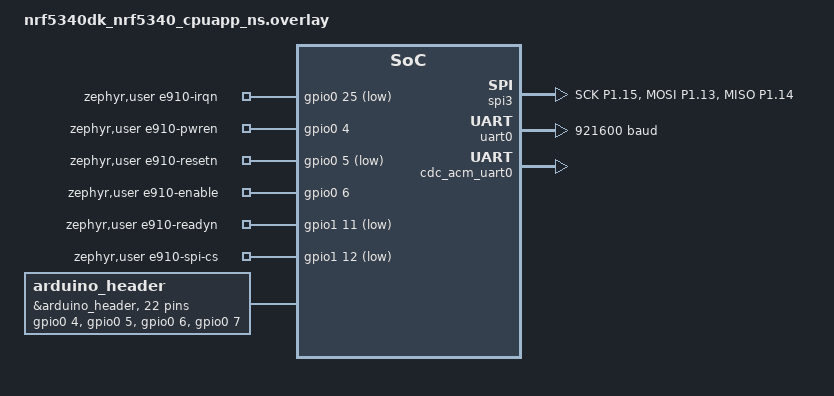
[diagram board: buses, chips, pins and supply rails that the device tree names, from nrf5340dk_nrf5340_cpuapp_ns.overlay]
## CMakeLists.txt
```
#
# Copyright (c) 2022 Nordic Semiconductor ASA
#
# SPDX-License-Identifier: LicenseRef-Nordic-5-Clause
#

cmake_minimum_required(VERSION 3.20.0)
set(VERSION 1.2.24)

# Use C 2011
set (CMAKE_C_STANDARD 11)

# No warnings
add_definitions(-w)

# Set OS type for Zephyr
add_definitions(-DEX10_OSAL_TYPE=EX10_OS_TYPE_BARE_METAL)
set(CMAKE_BUILD_TYPE "Debug")

find_package(Zephyr REQUIRED HINTS $ENV{ZEPHYR_BASE})
project(rain_cloud
    VERSION ${VERSION}
    DESCRIPTION "Impinj Zephyr RTOS Reader for nRF5340 Dev Kit"
    LANGUAGES C
)

set(BOARD_PATH ${PROJECT_SOURCE_DIR}/src/board/zephyr_rtos)
set(EX10 ${PROJECT_SOURCE_DIR}/src/src/ex10)
set(EX10_GEN2X ${PROJECT_SOURCE_DIR}/src/src_gen2x/ex10)

target_sources(
    app
    PRIVATE

    src/main.c

    src/rain/spitest.c
    src/rain/getboardversion.c
    src/rain/simple_ramping_example.c
    #src/rain/continuous_inventory.c
    src/rain/gen2x_continuous_inventory.c

    ${BOARD_PATH}/board_spec.c
    ${BOARD_PATH}/calibration.c
    ${BOARD_PATH}/calibration_v5.c
    ${BOARD_PATH}/driver_list.c
    ${BOARD_PATH}/ex10_gpio.c
    ${BOARD_PATH}/ex10_print.c
    ${BOARD_PATH}/ex10_random.c
    ${BOARD_PATH}/ex10_random.c
    ${BOARD_PATH}/ex10_rx_baseband_filter.c
    ${BOARD_PATH}/ex10_osal.c
    ${BOARD_PATH}/fifo_buffer_pool.c
    ${BOARD_PATH}/gpio_driver.c
    ${BOARD_PATH}/rssi_compensation_lut.c
    ${BOARD_PATH}/spi_driver.c
    ${BOARD_PATH}/time_helpers.c
    ${BOARD_PATH}/uart_driver.c
    ${BOARD_PATH}/uart_helpers.c

    ${BOARD_PATH}/calibration_lut_gen2x.c
    ${BOARD_PATH}/ex10_rx_baseband_filter_gen2x.c
    ${BOARD_PATH}/rssi_compensation_lut_gen2x.c

    ${EX10}_api/aggregate_op_builder.c 
    ${EX10}_api/application_registers.c 
    ${EX10}_api/board_init_core.c 
    ${EX10}_api/board_init.c 
    ${EX10}_api/command_transactor.c 
    ${EX10}_api/commands.c 
    ${EX10}_api/crc16.c 
    ${EX10}_api/event_fifo_printer.c 
    ${EX10}_api/event_packet_parser.c 
    ${EX10}_api/ex10_active_region.c 
    ${EX10}_api/ex10_api_strings.c 
    ${EX10}_api/ex10_autoset_modes.c 
    ${EX10}_api/ex10_boot_health.c 
    ${EX10}_api/ex10_device_time.c 
    ${EX10}_api/ex10_dynamic_power_ramp.c 
    ${EX10}_api/ex10_event_fifo_queue.c 
    ${EX10}_api/ex10_gen2_reply_string.c 
    ${EX10}_api/ex10_helpers.c 
    ${EX10}_api/ex10_inventory.c 

    ${EX10}_api/ex10_ops.c 
    ${EX10}_api/ex10_power_modes.c 
    ${EX10}_api/ex10_protocol.c 

    ${EX10}_api/ex10_regulatory.c 
    ${EX10}_api/ex10_result_strings.c 
    ${EX10}_api/ex10_result.c 
    ${EX10}_api/ex10_rf_power.c 
    ${EX10}_api/ex10_select_commands.c 
    ${EX10}_api/ex10_simple_example_init.c   
    ${EX10}_api/ex10_test.c 
    ${EX10}_api/ex10_utils.c 
    ${EX10}_api/fifo_buffer_list.c 
    ${EX10}_api/gen2_commands.c 
    ${EX10}_api/gen2_tx_command_manager.c 
    ${EX10}_api/legacy_rf_mode_converter.c    
    ${EX10}_api/list_node.c 
    ${EX10}_api/power_transactor.c 
    ${EX10}_api/print_data.c 
    ${EX10}_api/rf_mode_definitions.c 
    ${EX10}_api/sjc_accessor.c 
    ${EX10}_api/trace.c 
    ${EX10}_api/version_info.c

    ${EX10}_modules/ex10_ramp_module_manager.c
    ${EX10}_modules/ex10_antenna_disconnect.c
    ${EX10}_modules/ex10_listen_before_talk.c
    
    ${EX10}_use_cases/ex10_activity_sequence_use_case.c
    ${EX10}_use_cases/ex10_continuous_inventory_power_sweep_use_case.c
    ${EX10}_use_cases/ex10_continuous_inventory_start_use_case.c
    ${EX10}_use_cases/ex10_continuous_inventory_use_case.c
    ${EX10}_use_cases/ex10_inventory_sequence_use_case.c
    ${EX10}_use_cases/ex10_tag_access_use_case.c    

    ${EX10}_regulatory/ex10_default_region_names.c
    ${EX10}_regulatory/ex10_off_time_helpers.c
    ${EX10}_regulatory/ex10_regulatory_regions/ex10_regulatory_australia.c
    ${EX10}_regulatory/ex10_regulatory_regions/ex10_regulatory_brazil.c
    ${EX10}_regulatory/ex10_regulatory_regions/ex10_regulatory_china.c
    ${EX10}_regulatory/ex10_regulatory_regions/ex10_regulatory_error.c
    ${EX10}_regulatory/ex10_regulatory_regions/ex10_regulatory_etsi_lower.c
    ${EX10}_regulatory/ex10_regulatory_regions/ex10_regulatory_etsi_upper.c
    ${EX10}_regulatory/ex10_regulatory_regions/ex10_regulatory_fcc.c
    ${EX10}_regulatory/ex10_regulatory_regions/ex10_regulatory_hk.c
    ${EX10}_regulatory/ex10_regulatory_regions/ex10_regulatory_india.c
    ${EX10}_regulatory/ex10_regulatory_regions/ex10_regulatory_indonesia.c
    ${EX10}_regulatory/ex10_regulatory_regions/ex10_regulatory_israel.c
    ${EX10}_regulatory/ex10_regulatory_regions/ex10_regulatory_japan_916_921_mhz.c
    ${EX10}_regulatory/ex10_regulatory_regions/ex10_regulatory_korea.c
    ${EX10}_regulatory/ex10_regulatory_regions/ex10_regulatory_malaysia.c
    ${EX10}_regulatory/ex10_regulatory_regions/ex10_regulatory_new_zealand.c
    ${EX10}_regulatory/ex10_regulatory_regions/ex10_regulatory_peru.c
    ${EX10}_regulatory/ex10_regulatory_regions/ex10_regulatory_philippines.c
    ${EX10}_regulatory/ex10_regulatory_regions/ex10_regulatory_russia.c
    ${EX10}_regulatory/ex10_regulatory_regions/ex10_regulatory_singapore.c
    ${EX10}_regulatory/ex10_regulatory_regions/ex10_regulatory_south_africa.c
    ${EX10}_regulatory/ex10_regulatory_regions/ex10_regulatory_taiwan.c
    ${EX10}_regulatory/ex10_regulatory_regions/ex10_regulatory_thailand.c
    ${EX10}_regulatory/ex10_regulatory_regions/ex10_regulatory_uruguay.c
    ${EX10}_regulatory/ex10_regulatory_regions/ex10_regulatory_vietnam.c

    ${EX10}_utils/ex10_command_line.c
    ${EX10}_utils/ex10_inventory_command_line.c
    ${EX10}_utils/ex10_inventory_command_line_helper.c
    ${EX10}_utils/ex10_use_case_example_errors.c

    ${EX10_GEN2X}_api/event_fifo_printer_gen2x.c
    ${EX10_GEN2X}_api/ex10_autoset_modes_gen2x.c
    ${EX10_GEN2X}_api/ex10_inventory_gen2x.c
    ${EX10_GEN2X}_api/rf_mode_definitions_gen2x.c
    ${EX10_GEN2X}_modules/ex10_algo_autoset.c
    ${EX10_GEN2X}_use_cases/ex10_continuous_inventory_use_case_gen2x.c
    ${EX10_GEN2X}_use_cases/ex10_fast_tag_tracking_use_case_gen2x.c
    ${EX10_GEN2X}_use_cases/ex10_tag_access_use_case_gen2x.c
    
)


#########################################################################################################################################
# Yukon SDK
#########################################################################################################################################

set(VERSION_DISPLAY ${VERSION})

option(EX10_ENABLE_PRINT        "Enable/Disable library printfs to stdout" ON)
option(EX10_ENABLE_PRINT_ERR    "Enable/Disable library printfs to stderr" ON)
option(EX10_ENABLE_PRINT_EX     "Enable/Disable example printfs to stdout" ON)
option(EX10_ENABLE_PRINT_EX_ERR "Enable/Disable example printfs to stderr" ON)

if (EX10_ENABLE_PRINT)
    add_definitions(-DEX10_ENABLE_PRINT)
endif()
if (EX10_ENABLE_PRINT_ERR)
    add_definitions(-DEX10_ENABLE_PRINT_ERR)
endif()

if (EX10_ENABLE_PRINT_EX)
    add_definitions(-DEX10_ENABLE_PRINT_EX)
endif()
if (EX10_ENABLE_PRINT_EX_ERR)
    add_definitions(-DEX10_ENABLE_PRINT_EX_ERR)
endif()

if(NOT DEFINED BOARD_TARGET OR "${BOARD_TARGET}" STREQUAL "")
#    set(BOARD_TARGET macos_arm64_usb2spi)
    set(BOARD_TARGET zephyr_rtos)
    message(STATUS "Setting to default BOARD_TARGET     : ${BOARD_TARGET}")
endif()

if(NOT DEFINED CMAKE_BUILD_TYPE OR "${CMAKE_BUILD_TYPE}" STREQUAL "")
    set(CMAKE_BUILD_TYPE "Release")
    message(STATUS "Setting to default CMAKE_BUILD_TYPE : ${CMAKE_BUILD_TYPE}")
endif()

message(STATUS "TOOLCHAIN                   : ${CMAKE_TOOLCHAIN_FILE}")
message(STATUS "VERSION                     : ${VERSION_DISPLAY}")
message(STATUS "BOARD_TARGET                : ${BOARD_TARGET}")
message(STATUS "CMAKE_BUILD_TYPE            : ${CMAKE_BUILD_TYPE}")
message(STATUS "LTTNG                       : ${LTTNG}")
message(STATUS "EX10_ENABLE_PRINT           : ${EX10_ENABLE_PRINT}")
message(STATUS "EX10_ENABLE_PRINT_ERR       : ${EX10_ENABLE_PRINT_ERR}")
message(STATUS "EX10_ENABLE_PRINT_EX        : ${EX10_ENABLE_PRINT_EX}")
message(STATUS "EX10_ENABLE_PRINT_EX_ERR    : ${EX10_ENABLE_PRINT_EX_ERR}")

# block() # -- Not available until CMake version 3.26
string(TOUPPER ${CMAKE_BUILD_TYPE} BUILD_TYPE_UPPER)
message(STATUS  "CMAKE_CONFIGURATION_TYPES   : ${CMAKE_CONFIGURATION_TYPES}")
message(STATUS  "C_FLAGS                     : ${CMAKE_C_FLAGS_${BUILD_TYPE_UPPER}}")
message(STATUS  "CXX_FLAGS                   : ${CMAKE_CXX_FLAGS_${BUILD_TYPE_UPPER}}")
message(STATUS  "EXE_LINKER_FLAGS            : ${CMAKE_EXE_LINKER_FLAGS_${BUILD_TYPE_UPPER}}")
message(STATUS  "SHARED_LINKER_FLAGS         : ${CMAKE_SHARED_LINKER_FLAGS_${BUILD_TYPE_UPPER}}")
# endblock()

message(STATUS  "SHARED_LIB_SPECIFIC_LIBRARIES : ${SHARED_LIB_SPECIFIC_LIBRARIES}")
message(STATUS  "EXECUTABLE_SPECIFIC_LIBRARIES : ${EXECUTABLE_SPECIFIC_LIBRARIES}")
message(STATUS  "CMAKE_OBJCOPY                 : ${CMAKE_OBJCOPY}")
message(STATUS  "CMAKE_OBJDUMP                 : ${CMAKE_OBJDUMP}")
message(STATUS  "CMAKE_NM                      : ${CMAKE_NM}")
message(STATUS  "CMAKE_SIZE                    : ${CMAKE_SIZE}")

include_directories(
    ${PROJECT_SOURCE_DIR}/src
    ${PROJECT_SOURCE_DIR}/src/include
    ${PROJECT_SOURCE_DIR}/src/include/ex10_use_cases
    ${PROJECT_SOURCE_DIR}/src/include/ex10_api
    ${PROJECT_SOURCE_DIR}/src/include/ex10_modules
    ${PROJECT_SOURCE_DIR}/src/include/regulatory
    ${PROJECT_SOURCE_DIR}/src/ex10
    ${PROJECT_SOURCE_DIR}/src/board
    ${PROJECT_SOURCE_DIR}/src/board/zephyr_rtos

    ${PROJECT_SOURCE_DIR}/src/include_gen2x
    ${PROJECT_SOURCE_DIR}/src/include_gen2x/ex10_use_cases
    ${PROJECT_SOURCE_DIR}/src/include_gen2x/ex10_api
    ${PROJECT_SOURCE_DIR}/src/include_gen2x/ex10_modules
 )

#add_subdirectory(src/ex10)
#add_subdirectory(src/board/zephyr_rtos)

#target_link_libraries( # Specifies the target library.
#    app
#
#    yukon_board
#    yukon_sdk
#
##        ${EXECUTABLE_SPECIFIC_LIBRARIES}
##
#    # Links the target library to the log library
#    # included in the NDK.
#    ${log-lib}
#)
```

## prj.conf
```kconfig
#
# Copyright (c) 2022 Nordic Semiconductor ASA
#
# SPDX-License-Identifier: LicenseRef-Nordic-5-Clause
#

###################################################################################################################################
# General board config
###################################################################################################################################

# Build
CONFIG_SIZE_OPTIMIZATIONS=y
CONFIG_SPEED_OPTIMIZATIONS=n

# System settings
CONFIG_NEWLIB_LIBC=y
CONFIG_NEWLIB_LIBC_NANO=n

# Memories
CONFIG_INIT_STACKS=y
CONFIG_MAIN_STACK_SIZE=4096
CONFIG_SYSTEM_WORKQUEUE_STACK_SIZE=2048
CONFIG_HEAP_MEM_POOL_SIZE=153600

# Kernel options
CONFIG_ENTROPY_GENERATOR=y

# Logging/debug, adds about 65K ###################################################################################################################################
#CONFIG_LOG=y
#CONFIG_USE_SEGGER_RTT=y
#CONFIG_LOG_PRINTK=y
#CONFIG_LOG_BACKEND_RTT=y
#CONFIG_LOG_OVERRIDE_LEVEL=4
#CONFIG_LOG_MODE_IMMEDIATE=n

# Debugging
CONFIG_STACK_SENTINEL=y
CONFIG_DEBUG_COREDUMP=y
CONFIG_DEBUG_COREDUMP_BACKEND_LOGGING=y
CONFIG_DEBUG_COREDUMP_MEMORY_DUMP_MIN=y
CONFIG_ASSERT=y

# Thread analyzer
CONFIG_THREAD_ANALYZER=y
CONFIG_THREAD_ANALYZER_USE_PRINTK=y

#CONFIG_THREAD_ANALYZER_USE_LOG: use the logger for thread statistics.
#CONFIG_THREAD_ANALYZER_AUTO: run the thread analyzer automatically. You do not need to add any code to the application when using this option.
#CONFIG_THREAD_ANALYZER_AUTO_INTERVAL: the time for which the module sleeps between consecutive printing of thread analysis in automatic mode.
#CONFIG_THREAD_ANALYZER_AUTO_STACK_SIZE: the stack for thread analyzer automatic thread.
#CONFIG_THREAD_NAME: enable this option in the kernel to print the name of the thread instead of its ID.
#CONFIG_THREAD_RUNTIME_STATS: enable this option to print thread runtime data such as utilization (This options is 

# End Logging ###################################################################################################################################

# Don't need ADC, frees up some pins.
CONFIG_ADC=n

# Enable SPI controller
CONFIG_SPI=y
CONFIG_SPI_ASYNC=n

CONFIG_LOG=y
CONFIG_LOG_BUFFER_SIZE=2048
CONFIG_USE_SEGGER_RTT=y

CONFIG_LOG_BACKEND_UART=y
CONFIG_LOG_BACKEND_RTT=n

CONFIG_LOG_BACKEND_UART_BUFFER_SIZE=32
CONFIG_LOG_BACKEND_RTT_MODE_DROP=n
CONFIG_LOG_BACKEND_RTT_MODE_OVERWRITE=n
CONFIG_LOG_BACKEND_RTT_MODE_BLOCK=y
#CONFIG_LOG_BACKEND_RTT_OUTPUT_BUFFER_SIZE=16
CONFIG_LOG_BACKEND_RTT_RETRY_CNT=4
CONFIG_LOG_CORE_INIT_PRIORITY=0
CONFIG_LOG_MODE_IMMEDIATE=y
CONFIG_LOG_MODE_DEFERRED=n
CONFIG_LOG_BACKEND_FORMAT_TIMESTAMP=n
CONFIG_LOG_BACKEND_SHOW_COLOR=n
```

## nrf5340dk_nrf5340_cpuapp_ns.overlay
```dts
// To get started, press Ctrl+Space (or Option+Esc) to bring up the completion menu and view the available nodes.

// You can also use the buttons in the sidebar to perform actions on nodes.
// Actions currently available include:

// * Enabling / disabling the node
// * Adding the bus to a bus
// * Removing the node
// * Connecting ADC channels

// For more help, browse the DeviceTree documentation at https://docs.zephyrproject.org/latest/guides/dts/index.html
// You can also visit the nRF DeviceTree extension documentation at https://nrfconnect.github.io/vscode-nrf-connect/devicetree/nrfdevicetree.html

// To get started, press Ctrl+Space (or Option+Esc) to bring up the completion menu and view the available nodes.

// You can also use the buttons in the sidebar to perform actions on nodes.
// Actions currently available include:

// * Enabling / disabling the node
// * Adding the bus to a bus
// * Removing the node
// * Connecting ADC channels

// For more help, browse the DeviceTree documentation at https://docs.zephyrproject.org/latest/guides/dts/index.html
// You can also visit the nRF DeviceTree extension documentation at https://nrfconnect.github.io/vscode-nrf-connect/devicetree/nrfdevicetree.html

// Not needed
///delete-node/ &mx25r64;
///delete-node/ &qspi;
/delete-node/ &spi4;

&spi3 {
    status = "okay";
    pinctrl-0 = <&spi3_default>;
    pinctrl-names = "default";

};

&pinctrl {
    spi3_default: spi3_default {
        group1 {
            psels = <NRF_PSEL(SPIM_SCK, 1, 15)>,
                    <NRF_PSEL(SPIM_MOSI, 1, 13)>,
                    <NRF_PSEL(SPIM_MISO, 1, 14)>;
        };
    };
};

/ {
    zephyr,user {
        e910-irqn-gpios = <&gpio0 25 GPIO_ACTIVE_LOW>;
        e910-pwren-gpios = <&gpio0 4 GPIO_ACTIVE_HIGH>;
        e910-resetn-gpios = <&gpio0 5 GPIO_ACTIVE_LOW>;
        e910-enable-gpios = <&gpio0 6 GPIO_ACTIVE_HIGH>;        
        e910-readyn-gpios = <&gpio1 11 GPIO_ACTIVE_LOW>;        
        e910-spi-cs-gpios = <&gpio1 12 GPIO_ACTIVE_LOW>;        
    };
};

&adc {
    status = "disabled";
};

&uart0 {
	status = "okay";
	current-speed = <921600>;
};

&pwm0 {
    status = "disabled";
};

&arduino_header {
    gpio-map = <0 0 &gpio0 4 0>,
               <1 0 &gpio0 5 0>,
               <2 0 &gpio0 6 0>,
               <3 0 &gpio0 7 0>,
               <4 0 &gpio0 25 0>,
               <5 0 &gpio0 26 0>,
               <6 0 &gpio1 0 0>,
               <7 0 &gpio1 1 0>,
               <8 0 &gpio1 4 0>,
               <9 0 &gpio1 5 0>,
               <10 0 &gpio1 6 0>,
               <11 0 &gpio1 7 0>,
               <12 0 &gpio1 8 0>,
               <13 0 &gpio1 9 0>,
               <14 0 &gpio1 10 0>,
               <15 0 &gpio1 11 0>,
               <16 0 &gpio1 12 0>,
               <17 0 &gpio1 13 0>,
               <18 0 &gpio1 14 0>,
               <19 0 &gpio1 15 0>,
               <20 0 &gpio1 2 0>,
               <21 0 &gpio1 3 0>;
};
/delete-node/ &arduino_adc;

&i2c1 {
    status = "disabled";
};

&zephyr_udc0 {
	cdc_acm_uart0 {
		compatible = "zephyr,cdc-acm-uart";
	};
};

spiex10: &spi3 {
};
```

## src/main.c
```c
/*
 * Copyright (c) 2022 Nordic Semiconductor ASA
 *
 * SPDX-License-Identifier: LicenseRef-Nordic-5-Clause
 */
#include <zephyr/types.h>
#include <stddef.h>
#include <string.h>
#include <errno.h>
#include <zephyr/sys/printk.h>
#include <zephyr/kernel.h>

#include <nrfx_clock.h>

// Rain example entry points
int get_board_version(int argc, char* argv[]);
int spi_test(uint32_t iterations);
int simple_ramping_example();
int continuous_inventory(int min_read_rate);

// RAIN application thread.
static void rain_application_thread(void *arg1, void *arg2, void *arg3) {
	k_thread_name_set(NULL, "rain_app_thread");
	
	// Uncomment the example(s) you want to run here.
	//while(true) {
//		get_board_version(0, 0);
//		spi_test(1000);
//		simple_ramping_example();
		//continuous_inventory(0);
		gen2x_continuous_inventory(0);
		k_msleep(1000);
		printk("finish\n\n");
	//}
}

K_THREAD_STACK_DEFINE(rain_app_stack_area, CONFIG_MAIN_STACK_SIZE);
struct k_thread rain_app_thread_data;

int main(void)
{
	int rc;

	// Optional: System starts at 64MHz. Set sys clock to 128MHz by setting divider of 1x.
	nrfx_clock_divider_set(    NRF_CLOCK_DOMAIN_HFCLK, NRF_CLOCK_HFCLK_DIV_1);
	printk("Starting %s with CPU frequency: %d MHz\n", CONFIG_BOARD, SystemCoreClock/MHZ(1));
	k_msleep(1000);
	// Testing
	k_tid_t my_tid = k_thread_create(&rain_app_thread_data, rain_app_stack_area,
                                 K_THREAD_STACK_SIZEOF(rain_app_stack_area),
                                 rain_application_thread,
                                 NULL, NULL, NULL,
                                 5, 0, K_NO_WAIT);

	k_msleep(1000);
	
	while (true) {
		k_msleep(30000);

#ifdef CONFIG_THREAD_ANALYZER		
		//thread_analyzer_print();
#endif
	}

	return 0;
}
```
